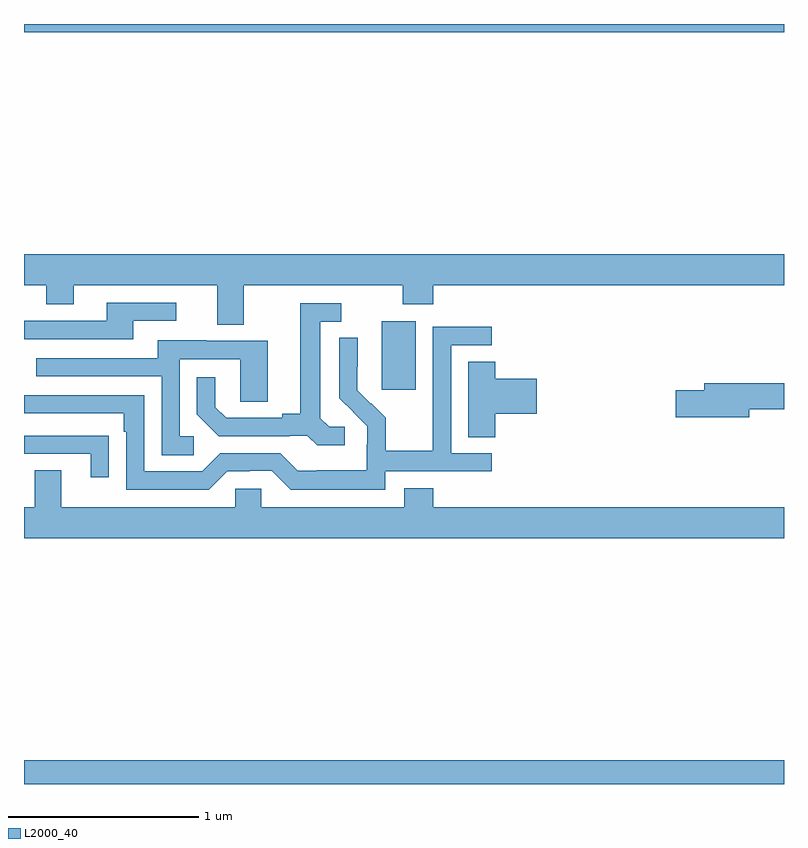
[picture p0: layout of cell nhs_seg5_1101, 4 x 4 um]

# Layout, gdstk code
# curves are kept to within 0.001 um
import gdstk
lib = gdstk.Library(unit=1e-6, precision=1e-09)
def R(c, l, rs):  # rectangles x0, y0, x1, y1
    for r in rs: c.add(gdstk.rectangle(r[:2], r[2:], *l))
def P(c, l, *ps):  # polygons
    for p in ps: c.add(gdstk.Polygon(p, *l))
L2000_40 = (2000, 40)

nhs_seg5_1101 = lib.new_cell('nhs_seg5_1101')
R(nhs_seg5_1101, L2000_40, [(179,856.799,183,856.924), (180.884,858.873,181.063,859.234), (179,860.756,183,860.799)])
P(nhs_seg5_1101, L2000_40, [(180.157,859.424),(180.994,859.424),(180.994,859.325),(181.154,859.325),(181.154,859.424),(183,859.424),(183,859.588),(179,859.588),(179,859.424),(179.116,859.424),(179.116,859.325),(179.263,859.325),(179.263,859.424),(180.017,859.424),(180.017,859.216),(180.157,859.216)],
  [(179.575,859.236),(179.8,859.236),(179.8,859.332),(179.435,859.332),(179.435,859.236),(179,859.236),(179,859.14),(179.575,859.14)],
  [(180.688,858.678),(180.606,858.678),(180.559,858.725),(180.559,859.233),(180.67,859.233),(180.67,859.329),(180.455,859.329),(180.455,858.749),(180.359,858.749),(180.359,858.726),(180.064,858.726),(180.007,858.783),(180.007,858.94),(179.91,858.94),(179.91,858.746),(180.026,858.63),(180.398,858.63),(180.398,858.633),(180.492,858.633),(180.544,858.581),(180.688,858.581)],
  [(180.9,858.444),(181.462,858.444),(181.462,858.54),(181.248,858.54),(181.248,859.107),(181.462,859.107),(181.462,859.206),(181.152,859.206),(181.152,858.776),(181.15,858.776),(181.15,858.553),(180.905,858.553),(180.905,858.727),(180.828,858.804),(180.825,858.801),(180.755,858.872),(180.756,859.148),(180.66,859.148),(180.66,858.83),(180.806,858.682),(180.806,858.585),(180.804,858.585),(180.804,858.451),(180.541,858.451),(180.541,858.447),(180.441,858.447),(180.348,858.54),(180.033,858.54),(179.937,858.444),(179.634,858.444),(179.634,858.846),(179,858.846),(179,858.75),(179.525,858.75),(179.525,858.653),(179.538,858.653),(179.538,858.348),(179.973,858.348),(180.069,858.444),(180.188,858.444),(180.188,858.447),(180.303,858.447),(180.403,858.347),(180.9,858.347)],
  [(179.893,858.63),(179.82,858.63),(179.82,859.035),(180.138,859.035),(180.138,858.811),(180.283,858.811),(180.283,859.131),(179.959,859.131),(179.959,859.135),(179.705,859.135),(179.705,859.041),(179.065,859.041),(179.065,858.945),(179.724,858.945),(179.724,858.529),(179.893,858.529)],
  [(181.481,858.749),(181.699,858.749),(181.699,858.932),(181.481,858.932),(181.481,859.022),(181.337,859.022),(181.337,858.625),(181.481,858.625)],
  [(182.818,858.772),(183,858.772),(183,858.908),(182.579,858.908),(182.579,858.872),(182.43,858.872),(182.43,858.73),(182.818,858.73)],
  [(179.447,858.632),(179.345,858.632),(179.345,858.633),(179,858.633),(179,858.537),(179.351,858.537),(179.351,858.414),(179.447,858.414)],
  [(183,858.256),(181.154,858.256),(181.154,858.355),(181.001,858.355),(181.001,858.256),(180.249,858.256),(180.249,858.354),(180.111,858.354),(180.111,858.256),(179.197,858.256),(179.197,858.451),(179.057,858.451),(179.057,858.256),(179,858.256),(179,858.092),(183,858.092)])

lib.write_gds('nhs_seg5_1101.gds')
